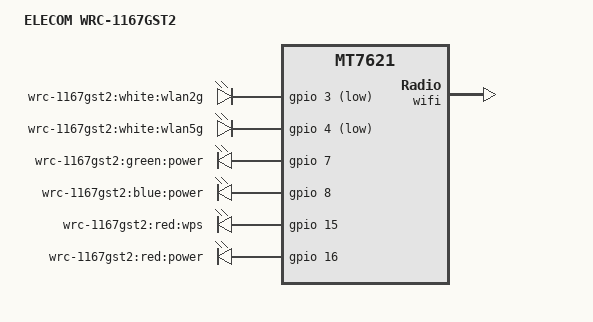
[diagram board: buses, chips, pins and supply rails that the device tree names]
// SPDX-License-Identifier: GPL-2.0-or-later OR MIT
/dts-v1/;

#include "mt7621_elecom_wrc-1167gsxx.dtsi"

/ {
	compatible = "elecom,wrc-1167gst2", "mediatek,mt7621-soc";
	model = "ELECOM WRC-1167GST2";

	aliases {
		label-mac-device = &wan;
	};

	leds {
		compatible = "gpio-leds";

		wlan2g {
			label = "wrc-1167gst2:white:wlan2g";
			gpios = <&gpio 3 GPIO_ACTIVE_LOW>;
		};

		wlan5g {
			label = "wrc-1167gst2:white:wlan5g";
			gpios = <&gpio 4 GPIO_ACTIVE_LOW>;
		};

		led_power_green: power_green {
			label = "wrc-1167gst2:green:power";
			gpios = <&gpio 7 GPIO_ACTIVE_HIGH>;
		};

		power_blue {
			label = "wrc-1167gst2:blue:power";
			gpios = <&gpio 8 GPIO_ACTIVE_HIGH>;
		};

		wps {
			label = "wrc-1167gst2:red:wps";
			gpios = <&gpio 15 GPIO_ACTIVE_HIGH>;
		};

		power_red {
			label = "wrc-1167gst2:red:power";
			gpios = <&gpio 16 GPIO_ACTIVE_HIGH>;
		};
	};
};

&gmac0 {
	mtd-mac-address = <&factory 0xe000>;
};

&wan {
	mtd-mac-address = <&factory 0xe006>;
};

&partitions {
	partition@50000 {
		compatible = "denx,uimage";
		label = "firmware";
		reg = <0x50000 0x1800000>;
	};

	partition@1850000 {
		label = "tm_pattern";
		reg = <0x1850000 0x400000>;
		read-only;
	};

	partition@1c50000 {
		label = "tm_key";
		reg = <0x1c50000 0x100000>;
		read-only;
	};

	partition@1d50000 {
		label = "nvram";
		reg = <0x1d50000 0xb0000>;
		read-only;
	};

	partition@1e00000 {
		label = "user_data";
		reg = <0x1e00000 0x200000>;
		read-only;
	};
};

&wifi {
	mtd-mac-address = <&factory 0xe000>;
	mtd-mac-address-increment = <1>;
};
